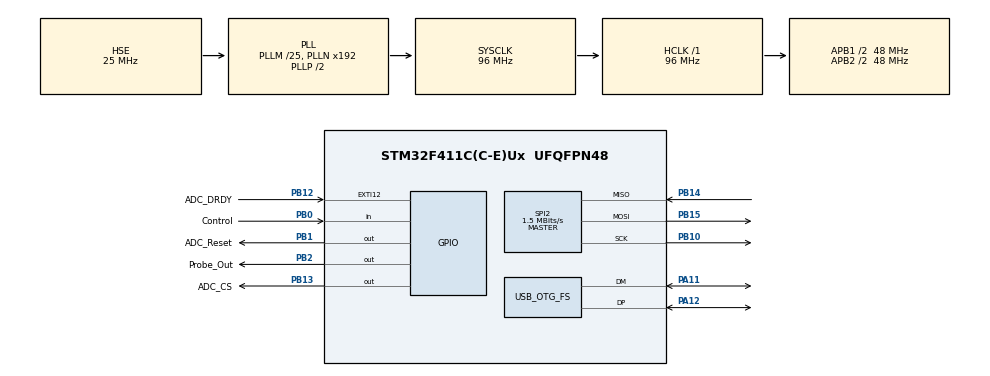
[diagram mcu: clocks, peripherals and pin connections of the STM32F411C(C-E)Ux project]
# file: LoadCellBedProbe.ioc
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Dma.Request0=SPI2_RX
Dma.Request1=SPI2_TX
Dma.SPI2_RX.0.Direction=DMA_PERIPH_TO_MEMORY
Dma.SPI2_RX.0.FIFOMode=DMA_FIFOMODE_DISABLE
Dma.SPI2_RX.0.Instance=DMA1_Stream3
Dma.SPI2_RX.0.MemDataAlignment=DMA_MDATAALIGN_BYTE
Dma.SPI2_RX.0.MemInc=DMA_MINC_ENABLE
Dma.SPI2_RX.0.Mode=DMA_NORMAL
Dma.SPI2_RX.0.PeriphDataAlignment=DMA_PDATAALIGN_BYTE
Dma.SPI2_RX.0.PeriphInc=DMA_PINC_DISABLE
Dma.SPI2_RX.0.Priority=DMA_PRIORITY_HIGH
Dma.SPI2_TX.1.Direction=DMA_MEMORY_TO_PERIPH
Dma.SPI2_TX.1.FIFOMode=DMA_FIFOMODE_DISABLE
Dma.SPI2_TX.1.Instance=DMA1_Stream4
Dma.SPI2_TX.1.MemDataAlignment=DMA_MDATAALIGN_BYTE
Dma.SPI2_TX.1.MemInc=DMA_MINC_ENABLE
Dma.SPI2_TX.1.Mode=DMA_NORMAL
Dma.SPI2_TX.1.PeriphDataAlignment=DMA_PDATAALIGN_BYTE
Dma.SPI2_TX.1.PeriphInc=DMA_PINC_DISABLE
Dma.SPI2_TX.1.Priority=DMA_PRIORITY_HIGH
IWDG.Reload=1023
Mcu.Family=STM32F4
Mcu.Name=STM32F411C(C-E)Ux
Mcu.Package=UFQFPN48
NVIC.DMA1_Stream3_IRQn=true\:0\:0\:false\:false\:true\:true\:true\:true
NVIC.DMA1_Stream4_IRQn=true\:0\:0\:false\:false\:true\:true\:true\:true
NVIC.EXTI15_10_IRQn=true\:0\:0\:false\:false\:true\:true\:true\:true
NVIC.OTG_FS_IRQn=true\:10\:0\:true\:false\:true\:true\:true\:true
NVIC.PriorityGroup=NVIC_PRIORITYGROUP_4
PA11.Mode=Device_Only
PA11.Signal=USB_OTG_FS_DM
PA12.Mode=Device_Only
PA12.Signal=USB_OTG_FS_DP
PA13.Mode=Trace_Asynchronous_SW
PA13.Signal=SYS_JTMS-SWDIO
PA14.Mode=Trace_Asynchronous_SW
PA14.Signal=SYS_JTCK-SWCLK
PB0.GPIO_Label=Control
PB0.GPIO_PuPd=GPIO_PULLDOWN
PB0.Signal=GPIO_Input
PB1.GPIO_Label=ADC_Reset
PB1.Signal=GPIO_Output
PB10.Mode=Full_Duplex_Master
PB10.Signal=SPI2_SCK
PB12.GPIO_Label=ADC_DRDY
PB12.GPIO_ModeDefaultEXTI=GPIO_MODE_IT_FALLING
PB12.Signal=GPXTI12
PB13.GPIO_Label=ADC_CS
PB13.GPIO_Speed=GPIO_SPEED_FREQ_MEDIUM
PB13.PinState=GPIO_PIN_SET
PB13.Signal=GPIO_Output
PB14.Mode=Full_Duplex_Master
PB14.Signal=SPI2_MISO
PB15.Mode=Full_Duplex_Master
PB15.Signal=SPI2_MOSI
PB2.GPIO_Label=Probe_Out
PB2.GPIO_Speed=GPIO_SPEED_FREQ_HIGH
PB2.PinState=GPIO_PIN_SET
PB2.Signal=GPIO_Output
PB3.Mode=Trace_Asynchronous_SW
PB3.Signal=SYS_JTDO-SWO
PC14-OSC32_IN.Mode=LSE-External-Oscillator
PC14-OSC32_IN.Signal=RCC_OSC32_IN
PC15-OSC32_OUT.Mode=LSE-External-Oscillator
PC15-OSC32_OUT.Signal=RCC_OSC32_OUT
PH0\ -\ OSC_IN.Mode=HSE-External-Oscillator
PH0\ -\ OSC_IN.Signal=RCC_OSC_IN
PH1\ -\ OSC_OUT.Mode=HSE-External-Oscillator
PH1\ -\ OSC_OUT.Signal=RCC_OSC_OUT
ProjectManager.HeapSize=0x200
ProjectManager.StackSize=0x400
ProjectManager.TargetToolchain=STM32CubeIDE
RCC.48MHZClocksFreq_Value=48000000
RCC.AHBFreq_Value=96000000
RCC.APB1CLKDivider=RCC_HCLK_DIV2
RCC.APB1Freq_Value=48000000
RCC.APB1TimFreq_Value=96000000
RCC.APB2CLKDivider=RCC_HCLK_DIV2
RCC.APB2Freq_Value=48000000
RCC.APB2TimFreq_Value=96000000
RCC.CortexFreq_Value=96000000
RCC.HCLKFreq_Value=96000000
RCC.HSE_VALUE=25000000
RCC.HSI_VALUE=16000000
RCC.PLLM=25
RCC.RCC_RTC_Clock_Source=RCC_RTCCLKSOURCE_LSE
RCC.RCC_RTC_Clock_SourceVirtual=RCC_RTCCLKSOURCE_LSE
RCC.SYSCLKFreq_VALUE=96000000
RCC.SYSCLKSource=RCC_SYSCLKSOURCE_PLLCLK
RCC.VCOOutputFreq_Value=192000000
SPI2.BaudRatePrescaler=SPI_BAUDRATEPRESCALER_32
SPI2.CLKPhase=SPI_PHASE_2EDGE
SPI2.CalculateBaudRate=1.5 MBits/s
SPI2.Direction=SPI_DIRECTION_2LINES
SPI2.Mode=SPI_MODE_MASTER
SPI2.VirtualType=VM_MASTER
TIM2.ClockDivision=TIM_CLOCKDIVISION_DIV4
TIM2.Prescaler=24000
TIM3.ClockDivision=TIM_CLOCKDIVISION_DIV4
TIM3.Prescaler=24
USB_DEVICE.CLASS_NAME_FS=CDC
USB_DEVICE.VirtualMode=Cdc
USB_DEVICE.VirtualModeFS=Cdc_FS
USB_OTG_FS.VirtualMode=Device_Only
VP_IWDG_VS_IWDG.Mode=IWDG_Activate
VP_RTC_VS_RTC_Activate.Mode=RTC_Enabled
VP_TIM2_VS_ClockSourceINT.Mode=Internal
VP_TIM3_VS_ClockSourceINT.Mode=Internal
VP_USB_DEVICE_VS_USB_DEVICE_CDC_FS.Mode=CDC_FS
board=custom

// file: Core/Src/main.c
/* USER CODE BEGIN Header */
/**
  ******************************************************************************
  * @file           : main.c
  * @brief          : Main program body
  ******************************************************************************
  * @attention
  *
  * Copyright (c) 2023 STMicroelectronics.
  * All rights reserved.
  *
  * This software is licensed under terms that can be found in the LICENSE file
  * in the root directory of this software component.
  * If no LICENSE file comes with this software, it is provided AS-IS.
  *
  ******************************************************************************
  */
/* USER CODE END Header */
#include "main.h"
#include "usb_device.h"

/* USER CODE BEGIN Includes */
#include "arm_math.h"
#include "usbd_cdc_if.h"

/* USER CODE END Includes */

/* USER CODE BEGIN PV */

arm_biquad_cascade_df2T_instance_f32 * iir_inst = {0};

int32_t MA_buffer[MA_BUFFER_LENGTH] = {0};
uint8_t MA_wr_idx = 0;

uint8_t SpiDmaRxBuf[8];
uint8_t SpiDmaTxBuf[8];
const uint8_t emptybuf[4]= { 0, 0, 0, 0 };

/* USER CODE END PV */

void SystemClock_Config(void);
static void MX_GPIO_Init(void);
static void MX_DMA_Init(void);
static void MX_SPI2_Init(void);
static void MX_IWDG_Init(void);
static void MX_TIM2_Init(void);
static void MX_TIM3_Init(void);
static void MX_RTC_Init(void);

int main(void)
{
  /* USER CODE BEGIN 1 */
	float32_t iir_coeffs[5 * IIR_NUMSTAGES] = IIR_COEFFS;
	float32_t iir_state[4 * IIR_NUMSTAGES];

	//uint8_t MA_buffer_sent = 1;
	LC_ModeTypeDef lc_mode = LC_IDLE;
	uint8_t DummyBuffer[8];

  /* USER CODE END 1 */

  /* MCU Configuration--------------------------------------------------------*/

  /* Reset of all peripherals, Initializes the Flash interface and the Systick. */
  HAL_Init();

  /* Configure the system clock */
  SystemClock_Config();

  /* Initialize all configured peripherals */
  MX_GPIO_Init();
  MX_DMA_Init();
  MX_SPI2_Init();
  MX_USB_DEVICE_Init();
  MX_IWDG_Init();
  MX_TIM2_Init();
  MX_TIM3_Init();
  MX_RTC_Init();
  /* USER CODE BEGIN 2 */

  // set ADC SPI CS
  LL_GPIO_SetOutputPin(ADC_CS_GPIO_Port, ADC_CS_Pin);
  // Set probe output
  LL_GPIO_SetOutputPin(Probe_Out_GPIO_Port, Probe_Out_Pin);

  /* Configure SPI1 DMA transfer interrupts */
  /* Enable DMA RX Interrupt */
  LL_SPI_EnableDMAReq_RX(SPI2);
  /* Enable DMA TX Interrupt */
  LL_SPI_EnableDMAReq_TX(SPI2);

  LL_DMA_ConfigAddresses(DMA1, LL_DMA_STREAM_3, LL_SPI_DMA_GetRegAddr(SPI2),
		  	  	  	  	  (uint32_t)SpiDmaRxBuf, LL_DMA_GetDataTransferDirection(DMA1, LL_DMA_STREAM_3)); //RX
  LL_DMA_ConfigAddresses(DMA1, LL_DMA_STREAM_4, (uint32_t)SpiDmaTxBuf,
		  	  	  	  	  LL_SPI_DMA_GetRegAddr(SPI2), LL_DMA_GetDataTransferDirection(DMA1, LL_DMA_STREAM_4));  //TX

  LL_DMA_SetDataLength(DMA1, LL_DMA_STREAM_3, 3);
  LL_DMA_SetDataLength(DMA1, LL_DMA_STREAM_4, 3);

  /* (5) Enable DMA interrupts complete/error */
  LL_DMA_EnableIT_TC(DMA1, LL_DMA_STREAM_3);
  LL_DMA_EnableIT_TE(DMA1, LL_DMA_STREAM_3);
  LL_DMA_EnableIT_TC(DMA1, LL_DMA_STREAM_4);
  LL_DMA_EnableIT_TE(DMA1, LL_DMA_STREAM_4);

  //HAL_TIM_Base_Start(&htim2);
  //HAL_TIM_Base_Start(&htim3);

  LL_TIM_EnableCounter(TIM2);
  LL_TIM_EnableCounter(TIM3);

  arm_biquad_cascade_df2T_init_f32(iir_inst, (uint8_t)IIR_NUMSTAGES, iir_coeffs, iir_state);

  //__HAL_TIM_SET_COUNTER(&htim2,0);
  LL_TIM_SetCounter(TIM2, 0);

  //Disable DMA and EXTI IRqs for idle mode
  NVIC_DisableIRQ(DMA1_Stream3_IRQn);
  NVIC_DisableIRQ(DMA1_Stream4_IRQn);
  NVIC_DisableIRQ(EXTI15_10_IRQn);

  void lc_send_greeting(void);

  /* USER CODE END 2 */

  /* Infinite loop */
  /* USER CODE BEGIN WHILE */
  while (1)
  {
	  LL_IWDG_ReloadCounter(IWDG);

	  switch( lc_mode ){
	  case LC_IDLE:
		  if ( LL_GPIO_IsInputPinSet(Control_GPIO_Port, Control_Pin) ) {
			  lc_mode = LC_PREPARE;
			  break;
		  }
		  if ( (LL_TIM_GetCounter(TIM2)) > LC_IDLE_PERIOD ) {
			  LL_TIM_SetCounter(TIM2, 0);
			  lc_do_lc_idle();
		  }
		  CDC_Transmit_FS(DummyBuffer, 0);
		  break;
	  case LC_PREPARE:
		  lc_do_lc_prepare();
		  CDC_Transmit_FS(DummyBuffer, 0);
		  break;
	  case LC_RUNNING:
		  lc_do_lc_running();
		  CDC_Transmit_FS(DummyBuffer, 0);
		  if ( !LL_GPIO_IsInputPinSet(Control_GPIO_Port, Control_Pin) ) {
		  			  lc_mode = LC_STOPPING;
		  }
		  break;
	  case LC_STOPPING:
		  lc_do_lc_stopping();
		  CDC_Transmit_FS(DummyBuffer, 0);
		  lc_mode = LC_IDLE;
		  break;
	  default:
		  lc_Error_Handler();
	  }

    /* USER CODE END WHILE */

  }
}

void SystemClock_Config(void)
{
  RCC_OscInitTypeDef RCC_OscInitStruct = {0};
  RCC_ClkInitTypeDef RCC_ClkInitStruct = {0};

  /** Configure the main internal regulator output voltage
  */
  __HAL_RCC_PWR_CLK_ENABLE();
  __HAL_PWR_VOLTAGESCALING_CONFIG(PWR_REGULATOR_VOLTAGE_SCALE1);

  /** Initializes the RCC Oscillators according to the specified parameters
  * in the RCC_OscInitTypeDef structure.
  */
  RCC_OscInitStruct.OscillatorType = RCC_OSCILLATORTYPE_LSI|RCC_OSCILLATORTYPE_HSE
                              |RCC_OSCILLATORTYPE_LSE;
  RCC_OscInitStruct.HSEState = RCC_HSE_ON;
  RCC_OscInitStruct.LSEState = RCC_LSE_ON;
  RCC_OscInitStruct.LSIState = RCC_LSI_ON;
  RCC_OscInitStruct.PLL.PLLState = RCC_PLL_ON;
  RCC_OscInitStruct.PLL.PLLSource = RCC_PLLSOURCE_HSE;
  RCC_OscInitStruct.PLL.PLLM = 25;
  RCC_OscInitStruct.PLL.PLLN = 192;
  RCC_OscInitStruct.PLL.PLLP = RCC_PLLP_DIV2;
  RCC_OscInitStruct.PLL.PLLQ = 4;
  if (HAL_RCC_OscConfig(&RCC_OscInitStruct) != HAL_OK)
  {
    Error_Handler();
  }

  /** Initializes the CPU, AHB and APB buses clocks
  */
  RCC_ClkInitStruct.ClockType = RCC_CLOCKTYPE_HCLK|RCC_CLOCKTYPE_SYSCLK
                              |RCC_CLOCKTYPE_PCLK1|RCC_CLOCKTYPE_PCLK2;
  RCC_ClkInitStruct.SYSCLKSource = RCC_SYSCLKSOURCE_PLLCLK;
  RCC_ClkInitStruct.AHBCLKDivider = RCC_SYSCLK_DIV1;
  RCC_ClkInitStruct.APB1CLKDivider = RCC_HCLK_DIV2;
  RCC_ClkInitStruct.APB2CLKDivider = RCC_HCLK_DIV2;

  if (HAL_RCC_ClockConfig(&RCC_ClkInitStruct, FLASH_LATENCY_3) != HAL_OK)
  {
    Error_Handler();
  }
}

static void MX_IWDG_Init(void)
{

  LL_IWDG_Enable(IWDG);
  LL_IWDG_EnableWriteAccess(IWDG);
  LL_IWDG_SetPrescaler(IWDG, LL_IWDG_PRESCALER_4);
  LL_IWDG_SetReloadCounter(IWDG, 1023);
  while (LL_IWDG_IsReady(IWDG) != 1)
  {
  }

  LL_IWDG_ReloadCounter(IWDG);

}

static void MX_RTC_Init(void)
{

  LL_RTC_InitTypeDef RTC_InitStruct = {0};

  RCC_PeriphCLKInitTypeDef PeriphClkInitStruct = {0};

  /** Initializes the peripherals clock
  */
  PeriphClkInitStruct.PeriphClockSelection = RCC_PERIPHCLK_RTC;
  PeriphClkInitStruct.RTCClockSelection = RCC_RTCCLKSOURCE_LSE;
  if (HAL_RCCEx_PeriphCLKConfig(&PeriphClkInitStruct) != HAL_OK)
  {
    Error_Handler();
  }

  /* Peripheral clock enable */
  LL_RCC_EnableRTC();

  /** Initialize RTC and set the Time and Date
  */
  RTC_InitStruct.HourFormat = LL_RTC_HOURFORMAT_24HOUR;
  RTC_InitStruct.AsynchPrescaler = 127;
  RTC_InitStruct.SynchPrescaler = 255;
  LL_RTC_Init(RTC, &RTC_InitStruct);
  LL_RTC_SetAsynchPrescaler(RTC, 127);
  LL_RTC_SetSynchPrescaler(RTC, 255);

}

static void MX_SPI2_Init(void)
{

  LL_SPI_InitTypeDef SPI_InitStruct = {0};

  LL_GPIO_InitTypeDef GPIO_InitStruct = {0};

  /* Peripheral clock enable */
  LL_APB1_GRP1_EnableClock(LL_APB1_GRP1_PERIPH_SPI2);

  LL_AHB1_GRP1_EnableClock(LL_AHB1_GRP1_PERIPH_GPIOB);
  /**SPI2 GPIO Configuration
  PB10   ------> SPI2_SCK
  PB14   ------> SPI2_MISO
  PB15   ------> SPI2_MOSI
  */
  GPIO_InitStruct.Pin = LL_GPIO_PIN_10|LL_GPIO_PIN_14|LL_GPIO_PIN_15;
  GPIO_InitStruct.Mode = LL_GPIO_MODE_ALTERNATE;
  GPIO_InitStruct.Speed = LL_GPIO_SPEED_FREQ_VERY_HIGH;
  GPIO_InitStruct.OutputType = LL_GPIO_OUTPUT_PUSHPULL;
  GPIO_InitStruct.Pull = LL_GPIO_PULL_NO;
  GPIO_InitStruct.Alternate = LL_GPIO_AF_5;
  LL_GPIO_Init(GPIOB, &GPIO_InitStruct);

  /* SPI2 DMA Init */

  /* SPI2_RX Init */
  LL_DMA_SetChannelSelection(DMA1, LL_DMA_STREAM_3, LL_DMA_CHANNEL_0);

  LL_DMA_SetDataTransferDirection(DMA1, LL_DMA_STREAM_3, LL_DMA_DIRECTION_PERIPH_TO_MEMORY);

  LL_DMA_SetStreamPriorityLevel(DMA1, LL_DMA_STREAM_3, LL_DMA_PRIORITY_HIGH);

  LL_DMA_SetMode(DMA1, LL_DMA_STREAM_3, LL_DMA_MODE_NORMAL);

  LL_DMA_SetPeriphIncMode(DMA1, LL_DMA_STREAM_3, LL_DMA_PERIPH_NOINCREMENT);

  LL_DMA_SetMemoryIncMode(DMA1, LL_DMA_STREAM_3, LL_DMA_MEMORY_INCREMENT);

  LL_DMA_SetPeriphSize(DMA1, LL_DMA_STREAM_3, LL_DMA_PDATAALIGN_BYTE);

  LL_DMA_SetMemorySize(DMA1, LL_DMA_STREAM_3, LL_DMA_MDATAALIGN_BYTE);

  LL_DMA_DisableFifoMode(DMA1, LL_DMA_STREAM_3);

  /* SPI2_TX Init */
  LL_DMA_SetChannelSelection(DMA1, LL_DMA_STREAM_4, LL_DMA_CHANNEL_0);

  LL_DMA_SetDataTransferDirection(DMA1, LL_DMA_STREAM_4, LL_DMA_DIRECTION_MEMORY_TO_PERIPH);

  LL_DMA_SetStreamPriorityLevel(DMA1, LL_DMA_STREAM_4, LL_DMA_PRIORITY_HIGH);

  LL_DMA_SetMode(DMA1, LL_DMA_STREAM_4, LL_DMA_MODE_NORMAL);

  LL_DMA_SetPeriphIncMode(DMA1, LL_DMA_STREAM_4, LL_DMA_PERIPH_NOINCREMENT);

  LL_DMA_SetMemoryIncMode(DMA1, LL_DMA_STREAM_4, LL_DMA_MEMORY_INCREMENT);

  LL_DMA_SetPeriphSize(DMA1, LL_DMA_STREAM_4, LL_DMA_PDATAALIGN_BYTE);

  LL_DMA_SetMemorySize(DMA1, LL_DMA_STREAM_4, LL_DMA_MDATAALIGN_BYTE);

  LL_DMA_DisableFifoMode(DMA1, LL_DMA_STREAM_4);

  /* SPI2 parameter configuration*/
  SPI_InitStruct.TransferDirection = LL_SPI_FULL_DUPLEX;
  SPI_InitStruct.Mode = LL_SPI_MODE_MASTER;
  SPI_InitStruct.DataWidth = LL_SPI_DATAWIDTH_8BIT;
  SPI_InitStruct.ClockPolarity = LL_SPI_POLARITY_LOW;
  SPI_InitStruct.ClockPhase = LL_SPI_PHASE_2EDGE;
  SPI_InitStruct.NSS = LL_SPI_NSS_SOFT;
  SPI_InitStruct.BaudRate = LL_SPI_BAUDRATEPRESCALER_DIV32;
  SPI_InitStruct.BitOrder = LL_SPI_MSB_FIRST;
  SPI_InitStruct.CRCCalculation = LL_SPI_CRCCALCULATION_DISABLE;
  SPI_InitStruct.CRCPoly = 10;
  LL_SPI_Init(SPI2, &SPI_InitStruct);
  LL_SPI_SetStandard(SPI2, LL_SPI_PROTOCOL_MOTOROLA);

}

static void MX_TIM2_Init(void)
{

  LL_TIM_InitTypeDef TIM_InitStruct = {0};

  /* Peripheral clock enable */
  LL_APB1_GRP1_EnableClock(LL_APB1_GRP1_PERIPH_TIM2);

  TIM_InitStruct.Prescaler = 24000;
  TIM_InitStruct.CounterMode = LL_TIM_COUNTERMODE_UP;
  TIM_InitStruct.Autoreload = 4294967295;
  TIM_InitStruct.ClockDivision = LL_TIM_CLOCKDIVISION_DIV4;
  LL_TIM_Init(TIM2, &TIM_InitStruct);
  LL_TIM_DisableARRPreload(TIM2);
  LL_TIM_SetClockSource(TIM2, LL_TIM_CLOCKSOURCE_INTERNAL);
  LL_TIM_SetTriggerOutput(TIM2, LL_TIM_TRGO_RESET);
  LL_TIM_DisableMasterSlaveMode(TIM2);

}

static void MX_TIM3_Init(void)
{

  LL_TIM_InitTypeDef TIM_InitStruct = {0};

  /* Peripheral clock enable */
  LL_APB1_GRP1_EnableClock(LL_APB1_GRP1_PERIPH_TIM3);

  TIM_InitStruct.Prescaler = 24;
  TIM_InitStruct.CounterMode = LL_TIM_COUNTERMODE_UP;
  TIM_InitStruct.Autoreload = 65535;
  TIM_InitStruct.ClockDivision = LL_TIM_CLOCKDIVISION_DIV4;
  LL_TIM_Init(TIM3, &TIM_InitStruct);
  LL_TIM_DisableARRPreload(TIM3);
  LL_TIM_SetClockSource(TIM3, LL_TIM_CLOCKSOURCE_INTERNAL);
  LL_TIM_SetTriggerOutput(TIM3, LL_TIM_TRGO_RESET);
  LL_TIM_DisableMasterSlaveMode(TIM3);

}

static void MX_DMA_Init(void)
{

  /* Init with LL driver */
  /* DMA controller clock enable */
  LL_AHB1_GRP1_EnableClock(LL_AHB1_GRP1_PERIPH_DMA1);

  /* DMA interrupt init */
  /* DMA1_Stream3_IRQn interrupt configuration */
  NVIC_SetPriority(DMA1_Stream3_IRQn, NVIC_EncodePriority(NVIC_GetPriorityGrouping(),0, 0));
  NVIC_EnableIRQ(DMA1_Stream3_IRQn);
  /* DMA1_Stream4_IRQn interrupt configuration */
  NVIC_SetPriority(DMA1_Stream4_IRQn, NVIC_EncodePriority(NVIC_GetPriorityGrouping(),0, 0));
  NVIC_EnableIRQ(DMA1_Stream4_IRQn);

}

static void MX_GPIO_Init(void)
{
  LL_EXTI_InitTypeDef EXTI_InitStruct = {0};
  LL_GPIO_InitTypeDef GPIO_InitStruct = {0};

  /* GPIO Ports Clock Enable */
  LL_AHB1_GRP1_EnableClock(LL_AHB1_GRP1_PERIPH_GPIOC);
  LL_AHB1_GRP1_EnableClock(LL_AHB1_GRP1_PERIPH_GPIOH);
  LL_AHB1_GRP1_EnableClock(LL_AHB1_GRP1_PERIPH_GPIOB);
  LL_AHB1_GRP1_EnableClock(LL_AHB1_GRP1_PERIPH_GPIOA);

  /**/
  LL_GPIO_ResetOutputPin(ADC_Reset_GPIO_Port, ADC_Reset_Pin);

  /**/
  LL_GPIO_SetOutputPin(GPIOB, Probe_Out_Pin|ADC_CS_Pin);

  /**/
  GPIO_InitStruct.Pin = Control_Pin;
  GPIO_InitStruct.Mode = LL_GPIO_MODE_INPUT;
  GPIO_InitStruct.Pull = LL_GPIO_PULL_DOWN;
  LL_GPIO_Init(Control_GPIO_Port, &GPIO_InitStruct);

  /**/
  GPIO_InitStruct.Pin = ADC_Reset_Pin;
  GPIO_InitStruct.Mode = LL_GPIO_MODE_OUTPUT;
  GPIO_InitStruct.Speed = LL_GPIO_SPEED_FREQ_LOW;
  GPIO_InitStruct.OutputType = LL_GPIO_OUTPUT_PUSHPULL;
  GPIO_InitStruct.Pull = LL_GPIO_PULL_NO;
  LL_GPIO_Init(ADC_Reset_GPIO_Port, &GPIO_InitStruct);

  /**/
  GPIO_InitStruct.Pin = Probe_Out_Pin;
  GPIO_InitStruct.Mode = LL_GPIO_MODE_OUTPUT;
  GPIO_InitStruct.Speed = LL_GPIO_SPEED_FREQ_HIGH;
  GPIO_InitStruct.OutputType = LL_GPIO_OUTPUT_PUSHPULL;
  GPIO_InitStruct.Pull = LL_GPIO_PULL_NO;
  LL_GPIO_Init(Probe_Out_GPIO_Port, &GPIO_InitStruct);

  /**/
  GPIO_InitStruct.Pin = ADC_CS_Pin;
  GPIO_InitStruct.Mode = LL_GPIO_MODE_OUTPUT;
  GPIO_InitStruct.Speed = LL_GPIO_SPEED_FREQ_MEDIUM;
  GPIO_InitStruct.OutputType = LL_GPIO_OUTPUT_PUSHPULL;
  GPIO_InitStruct.Pull = LL_GPIO_PULL_NO;
  LL_GPIO_Init(ADC_CS_GPIO_Port, &GPIO_InitStruct);

  /**/
  LL_SYSCFG_SetEXTISource(LL_SYSCFG_EXTI_PORTB, LL_SYSCFG_EXTI_LINE12);

  /**/
  EXTI_InitStruct.Line_0_31 = LL_EXTI_LINE_12;
  EXTI_InitStruct.LineCommand = ENABLE;
  EXTI_InitStruct.Mode = LL_EXTI_MODE_IT;
  EXTI_InitStruct.Trigger = LL_EXTI_TRIGGER_FALLING;
  LL_EXTI_Init(&EXTI_InitStruct);

  /**/
  LL_GPIO_SetPinPull(ADC_DRDY_GPIO_Port, ADC_DRDY_Pin, LL_GPIO_PULL_NO);

  /**/
  LL_GPIO_SetPinMode(ADC_DRDY_GPIO_Port, ADC_DRDY_Pin, LL_GPIO_MODE_INPUT);

  /* EXTI interrupt init*/
  NVIC_SetPriority(EXTI15_10_IRQn, NVIC_EncodePriority(NVIC_GetPriorityGrouping(),0, 0));
  NVIC_EnableIRQ(EXTI15_10_IRQn);

}

void Error_Handler(void)
{
  __disable_irq();
  while (1)
  {
  }
}
